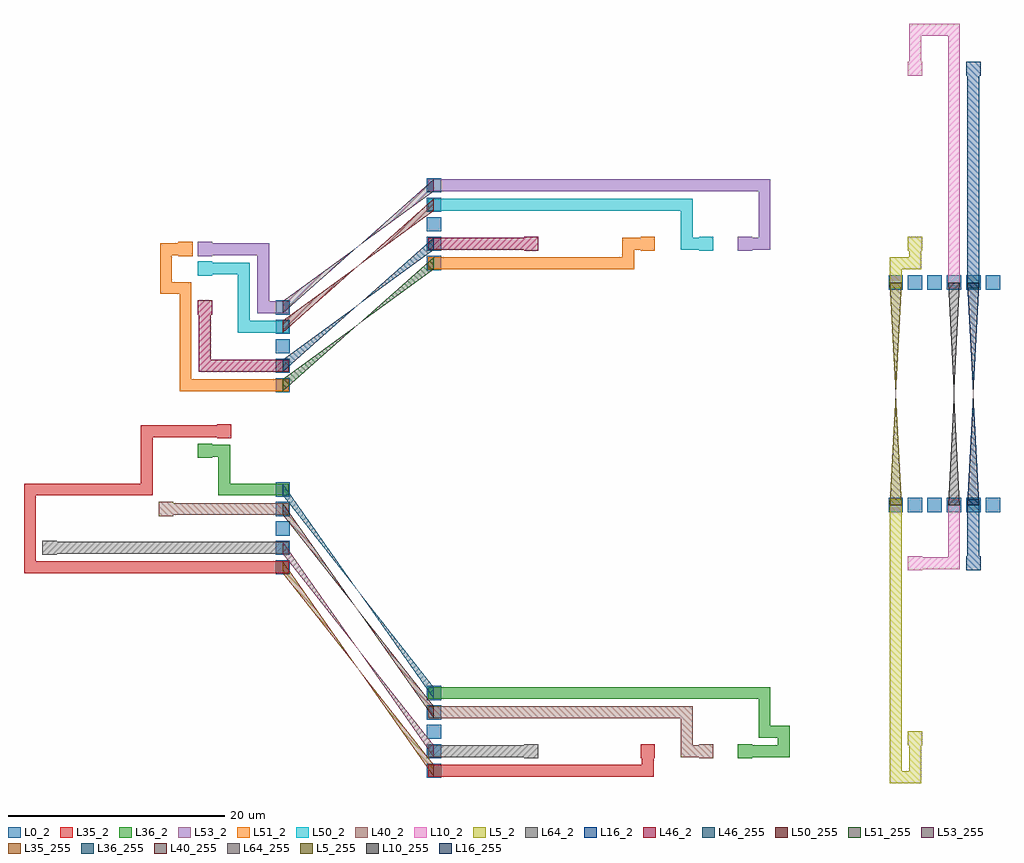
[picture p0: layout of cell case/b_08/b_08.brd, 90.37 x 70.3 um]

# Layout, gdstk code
import gdstk
lib = gdstk.Library(unit=1e-6, precision=2.5e-10)
def R(c, l, rs):  # rectangles x0, y0, x1, y1
    for r in rs: c.add(gdstk.rectangle(r[:2], r[2:], *l))
def A(c, l, x, y, w, h, nx, ny, dx, dy):  # array of equal rectangles
    R(c, l, [(x+i*dx, y+j*dy, x+i*dx+w, y+j*dy+h) for i in range(nx) for j in range(ny)])
def P(c, l, *ps):  # polygons
    for p in ps: c.add(gdstk.Polygon(p, *l))
L0_2 = (0, 2)
L5_2 = (5, 2)
L5_255 = (5, 255)
L10_2 = (10, 2)
L10_255 = (10, 255)
L16_2 = (16, 2)
L16_255 = (16, 255)
L35_2 = (35, 2)
L35_255 = (35, 255)
L36_2 = (36, 2)
L36_255 = (36, 255)
L40_2 = (40, 2)
L40_255 = (40, 255)
L46_2 = (46, 2)
L46_255 = (46, 255)
L50_2 = (50, 2)
L50_255 = (50, 255)
L51_2 = (51, 2)
L51_255 = (51, 255)
L53_2 = (53, 2)
L53_255 = (53, 255)
L64_2 = (64, 2)
L64_255 = (64, 255)

case_b_08_b_08_brd = lib.new_cell('case/b_08/b_08.brd')
R(case_b_08_b_08_brd, L0_2, [(382.811,215.92,384.131,217.24), (382.811,215.92,384.131,217.24), (382.811,215.92,384.131,217.24), (382.811,215.92,384.131,217.24), (382.811,217.72,384.131,219.04), (382.811,217.72,384.131,219.04), (382.811,217.72,384.131,219.04), (382.811,217.72,384.131,219.04), (382.811,219.52,384.131,220.84), (382.811,219.52,384.131,220.84), (382.811,219.52,384.131,220.84), (382.811,219.52,384.131,220.84), (382.811,221.32,384.131,222.64), (382.811,221.32,384.131,222.64), (382.811,221.32,384.131,222.64), (382.811,221.32,384.131,222.64), (382.811,223.12,384.131,224.44), (382.811,223.12,384.131,224.44), (382.811,223.12,384.131,224.44), (382.811,223.12,384.131,224.44), (368.8,234.755,370.12,236.075), (368.8,234.755,370.12,236.075), (368.8,234.755,370.12,236.075), (368.8,234.755,370.12,236.075), (368.8,236.555,370.12,237.875), (368.8,236.555,370.12,237.875), (368.8,236.555,370.12,237.875), (368.8,236.555,370.12,237.875), (368.8,238.355,370.12,239.675), (368.8,238.355,370.12,239.675), (368.8,238.355,370.12,239.675), (368.8,238.355,370.12,239.675), (368.8,240.155,370.12,241.475), (368.8,240.155,370.12,241.475), (368.8,240.155,370.12,241.475), (368.8,240.155,370.12,241.475), (425.556,240.518,426.876,241.838), (425.556,240.518,426.876,241.838), (425.556,240.518,426.876,241.838), (427.356,240.518,428.676,241.838), (427.356,240.518,428.676,241.838), (427.356,240.518,428.676,241.838), (429.156,240.518,430.476,241.838), (429.156,240.518,430.476,241.838), (429.156,240.518,430.476,241.838), (430.956,240.518,432.276,241.838), (430.956,240.518,432.276,241.838), (430.956,240.518,432.276,241.838), (432.756,240.518,434.076,241.838), (432.756,240.518,434.076,241.838), (432.756,240.518,434.076,241.838), (434.556,240.518,435.876,241.838), (434.556,240.518,435.876,241.838), (434.556,240.518,435.876,241.838), (368.8,241.955,370.12,243.275), (368.8,241.955,370.12,243.275), (368.8,241.955,370.12,243.275), (368.8,241.955,370.12,243.275), (368.8,251.616,370.12,252.936), (368.8,251.616,370.12,252.936), (368.8,251.616,370.12,252.936), (368.8,251.616,370.12,252.936), (368.8,253.416,370.12,254.736), (368.8,253.416,370.12,254.736), (368.8,253.416,370.12,254.736), (368.8,253.416,370.12,254.736), (368.8,255.216,370.12,256.536), (368.8,255.216,370.12,256.536), (368.8,255.216,370.12,256.536), (368.8,255.216,370.12,256.536), (368.8,257.016,370.12,258.336), (368.8,257.016,370.12,258.336), (368.8,257.016,370.12,258.336), (368.8,257.016,370.12,258.336), (368.8,258.816,370.12,260.136), (368.8,258.816,370.12,260.136), (368.8,258.816,370.12,260.136), (368.8,258.816,370.12,260.136), (425.556,261.12,426.876,262.44), (425.556,261.12,426.876,262.44), (425.556,261.12,426.876,262.44), (427.356,261.12,428.676,262.44), (427.356,261.12,428.676,262.44), (427.356,261.12,428.676,262.44), (429.156,261.12,430.476,262.44), (429.156,261.12,430.476,262.44), (429.156,261.12,430.476,262.44), (430.956,261.12,432.276,262.44), (430.956,261.12,432.276,262.44), (430.956,261.12,432.276,262.44), (432.756,261.12,434.076,262.44), (432.756,261.12,434.076,262.44), (432.756,261.12,434.076,262.44), (434.556,261.12,435.876,262.44), (434.556,261.12,435.876,262.44), (434.556,261.12,435.876,262.44), (382.811,262.92,384.131,264.24), (382.811,262.92,384.131,264.24), (382.811,262.92,384.131,264.24), (382.811,262.92,384.131,264.24), (382.811,264.72,384.131,266.04), (382.811,264.72,384.131,266.04), (382.811,264.72,384.131,266.04), (382.811,264.72,384.131,266.04), (382.811,266.52,384.131,267.84), (382.811,266.52,384.131,267.84), (382.811,266.52,384.131,267.84), (382.811,266.52,384.131,267.84), (382.811,268.32,384.131,269.64), (382.811,268.32,384.131,269.64), (382.811,268.32,384.131,269.64), (382.811,268.32,384.131,269.64), (382.811,270.12,384.131,271.44), (382.811,270.12,384.131,271.44), (382.811,270.12,384.131,271.44), (382.811,270.12,384.131,271.44)])
A(case_b_08_b_08_brd, L5_2, 425.666, 215.428, 1.1, 2.9, 1, 14, 0, 1.8)
R(case_b_08_b_08_brd, L5_2, [(425.666,215.428,428.566,216.528), (427.466,215.428,428.566,218.328), (427.466,217.228,428.566,220.128), (427.356,218.918,428.676,220.238), (425.666,261.23,426.766,264.13), (425.666,263.03,428.566,264.13), (427.466,263.03,428.566,265.93), (427.356,264.72,428.676,266.04)])
P(case_b_08_b_08_brd, L5_255, [(425.666,261.78),(426.766,261.78),(425.666,241.178),(426.766,241.178)])
A(case_b_08_b_08_brd, L10_2, 431.066, 235.228, 1.1, 2.9, 1, 3, 0, 1.8)
A(case_b_08_b_08_brd, L10_2, 431.066, 261.23, 1.1, 2.9, 1, 13, 0, 1.8)
R(case_b_08_b_08_brd, L10_2, [(427.356,235.118,428.676,236.438), (427.466,235.228,430.366,236.328), (429.266,235.228,432.166,236.328), (427.356,280.92,428.676,282.24), (427.466,281.03,428.566,283.93), (427.466,282.83,428.566,285.73), (427.466,284.63,430.366,285.73), (429.266,284.63,432.166,285.73)])
P(case_b_08_b_08_brd, L10_255, [(431.066,261.78),(432.166,261.78),(431.066,241.178),(432.166,241.178)])
A(case_b_08_b_08_brd, L16_2, 432.866, 235.228, 1.1, 2.9, 1, 3, 0, 1.8)
A(case_b_08_b_08_brd, L16_2, 432.866, 261.23, 1.1, 2.9, 1, 11, 0, 1.8)
R(case_b_08_b_08_brd, L16_2, [(432.756,235.118,434.076,236.438), (432.756,280.92,434.076,282.24)])
P(case_b_08_b_08_brd, L16_255, [(432.866,261.78),(433.966,261.78),(432.866,241.178),(433.966,241.178)])
A(case_b_08_b_08_brd, L35_2, 382.921, 216.03, 2.9, 1.1, 11, 1, 1.8, 0)
A(case_b_08_b_08_brd, L35_2, 345.51, 234.865, 2.9, 1.1, 13, 1, 1.8, 0)
A(case_b_08_b_08_brd, L35_2, 345.51, 234.865, 1.1, 2.9, 1, 4, 0, 1.8)
A(case_b_08_b_08_brd, L35_2, 345.51, 242.065, 2.9, 1.1, 6, 1, 1.8, 0)
A(case_b_08_b_08_brd, L35_2, 356.31, 242.065, 1.1, 2.9, 1, 3, 0, 1.8)
A(case_b_08_b_08_brd, L35_2, 356.31, 247.465, 2.9, 1.1, 4, 1, 1.8, 0)
R(case_b_08_b_08_brd, L35_2, [(402.721,216.03,403.821,218.93), (402.611,217.72,403.931,219.04), (363.4,247.355,364.72,248.675)])
P(case_b_08_b_08_brd, L35_255, [(383.471,216.03),(383.471,217.13),(369.46,234.865),(369.46,235.965)])
A(case_b_08_b_08_brd, L36_2, 382.921, 223.23, 2.9, 1.1, 17, 1, 1.8, 0)
A(case_b_08_b_08_brd, L36_2, 363.51, 242.065, 2.9, 1.1, 3, 1, 1.8, 0)
R(case_b_08_b_08_brd, L36_2, [(411.611,217.72,412.931,219.04), (411.721,217.83,414.621,218.93), (413.521,217.83,416.421,218.93), (415.321,217.83,416.421,220.73), (413.521,219.63,416.421,220.73), (413.521,219.63,414.621,222.53), (413.521,221.43,414.621,224.33), (363.51,242.065,364.61,244.965), (363.51,243.865,364.61,246.765), (361.6,245.555,362.92,246.875), (361.71,245.665,364.61,246.765)])
P(case_b_08_b_08_brd, L36_255, [(383.471,223.23),(383.471,224.33),(369.46,242.065),(369.46,243.165)])
A(case_b_08_b_08_brd, L40_2, 382.921, 221.43, 2.9, 1.1, 13, 1, 1.8, 0)
A(case_b_08_b_08_brd, L40_2, 358.11, 240.265, 2.9, 1.1, 6, 1, 1.8, 0)
R(case_b_08_b_08_brd, L40_2, [(408.011,217.72,409.331,219.04), (406.321,217.83,409.221,218.93), (406.321,217.83,407.421,220.73), (406.321,219.63,407.421,222.53), (358,240.155,359.32,241.475)])
P(case_b_08_b_08_brd, L40_255, [(383.471,221.43),(383.471,222.53),(369.46,240.265),(369.46,241.365)])
A(case_b_08_b_08_brd, L46_2, 361.71, 253.526, 2.9, 1.1, 4, 1, 1.8, 0)
A(case_b_08_b_08_brd, L46_2, 361.71, 253.526, 1.1, 2.9, 1, 3, 0, 1.8)
A(case_b_08_b_08_brd, L46_2, 382.921, 264.83, 2.9, 1.1, 5, 1, 1.8, 0)
R(case_b_08_b_08_brd, L46_2, [(361.6,258.816,362.92,260.136), (391.811,264.72,393.131,266.04)])
P(case_b_08_b_08_brd, L46_255, [(383.471,264.83),(383.471,265.93),(369.46,253.526),(369.46,254.626)])
A(case_b_08_b_08_brd, L50_2, 365.31, 257.126, 1.1, 2.9, 1, 3, 0, 1.8)
A(case_b_08_b_08_brd, L50_2, 382.921, 268.43, 2.9, 1.1, 13, 1, 1.8, 0)
R(case_b_08_b_08_brd, L50_2, [(365.31,257.126,368.21,258.226), (367.11,257.126,370.01,258.226), (361.6,262.416,362.92,263.736), (361.71,262.526,364.61,263.626), (363.51,262.526,366.41,263.626), (408.011,264.72,409.331,266.04), (406.321,264.83,409.221,265.93), (406.321,264.83,407.421,267.73), (406.321,266.63,407.421,269.53)])
P(case_b_08_b_08_brd, L50_255, [(383.471,268.43),(383.471,269.53),(369.46,257.126),(369.46,258.226)])
A(case_b_08_b_08_brd, L51_2, 359.91, 251.726, 2.9, 1.1, 5, 1, 1.8, 0)
A(case_b_08_b_08_brd, L51_2, 359.91, 251.726, 1.1, 2.9, 1, 5, 0, 1.8)
A(case_b_08_b_08_brd, L51_2, 382.921, 263.03, 2.9, 1.1, 10, 1, 1.8, 0)
R(case_b_08_b_08_brd, L51_2, [(358.11,260.726,361.01,261.826), (358.11,260.726,359.21,263.626), (358.11,262.526,359.21,265.426), (400.921,263.03,402.021,265.93), (359.8,264.216,361.12,265.536), (358.11,264.326,361.01,265.426), (402.611,264.72,403.931,266.04), (400.921,264.83,403.821,265.93)])
P(case_b_08_b_08_brd, L51_255, [(383.471,263.03),(383.471,264.13),(369.46,251.726),(369.46,252.826)])
A(case_b_08_b_08_brd, L53_2, 367.11, 258.926, 1.1, 2.9, 1, 3, 0, 1.8)
A(case_b_08_b_08_brd, L53_2, 361.71, 264.326, 2.9, 1.1, 3, 1, 1.8, 0)
A(case_b_08_b_08_brd, L53_2, 413.521, 264.83, 1.1, 2.9, 1, 3, 0, 1.8)
A(case_b_08_b_08_brd, L53_2, 382.921, 270.23, 2.9, 1.1, 17, 1, 1.8, 0)
R(case_b_08_b_08_brd, L53_2, [(367.11,258.926,370.01,260.026), (361.6,264.216,362.92,265.536), (411.611,264.72,412.931,266.04), (411.721,264.83,414.621,265.93)])
P(case_b_08_b_08_brd, L53_255, [(383.471,270.23),(383.471,271.33),(369.46,258.926),(369.46,260.026)])
A(case_b_08_b_08_brd, L64_2, 382.921, 217.83, 2.9, 1.1, 5, 1, 1.8, 0)
A(case_b_08_b_08_brd, L64_2, 347.31, 236.665, 2.9, 1.1, 12, 1, 1.8, 0)
R(case_b_08_b_08_brd, L64_2, [(391.811,217.72,393.131,219.04), (347.2,236.555,348.52,237.875)])
P(case_b_08_b_08_brd, L64_255, [(383.471,217.83),(383.471,218.93),(369.46,236.665),(369.46,237.765)])

lib.write_gds('case_b_08_b_08.brd.gds')
